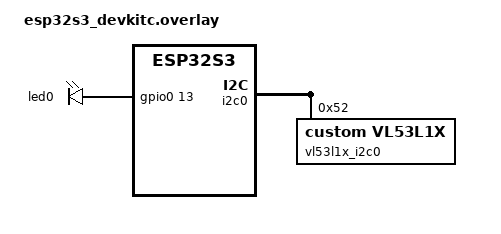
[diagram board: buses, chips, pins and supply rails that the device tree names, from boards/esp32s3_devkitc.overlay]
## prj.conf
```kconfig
CONFIG_GPIO=y
CONFIG_I2C=y
CONFIG_SHELL=y
CONFIG_I2C_SHELL=y
CONFIG_SENSOR_SHELL=y
CONFIG_SENSOR=y
```

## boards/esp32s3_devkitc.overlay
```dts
/ {
    aliases {
        my-led = &led0;
        distance-sensor = &vl53l1x_i2c0;
    };

    leds {
        compatible = "gpio-leds";
        led0: d13 {
            gpios = <&gpio0 13 GPIO_ACTIVE_HIGH>;
        };
    };
};

&pinctrl {
    i2c0_custom_pins: i2c0_custom_pins {
        group1 {
            pinmux = <I2C0_SDA_GPIO15>, <I2C0_SCL_GPIO16>;	// SDA on GPIO15, SCL on GPIO16
            bias-pull-up; 									// Enable pull-up resistors for both pins
            drive-open-drain; 								// Required for I2C
            output-high; 									// Start with lines high (inactive state)
        };
    };
};

&i2c0 {
    pinctrl-0 = <&i2c0_custom_pins>;
    status = "okay";

    vl53l1x_i2c0: vl53l1x@52 {
        compatible = "custom,vl53l1x";
        reg = < 0x52 >;
        status = "okay";
    };
};
```

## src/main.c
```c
#include <stdio.h>
#include <zephyr/kernel.h>
#include <zephyr/drivers/gpio.h>

// Settings
static const int32_t sleep_time_ms = 1000;
static const struct gpio_dt_spec led = GPIO_DT_SPEC_GET(DT_ALIAS(my_led), gpios);

int main(void)
{
	int ret;
	int state = 0;

	// Make sure that the GPIO was initialized
	if (!gpio_is_ready_dt(&led)) {
		return 0;
	}

	// Set the GPIO as output
	ret = gpio_pin_configure_dt(&led, GPIO_OUTPUT);
	if (ret < 0) {
		return 0;
	}

	// Do forever
	while (1) {

		// Change the state of the pin and print
		state = !state;
		// printk("LED state: %d\r\n", state);
		
		// Set pin state
		ret = gpio_pin_set_dt(&led, state);
		if (ret < 0) {
			return 0;
		}

		// Sleep
		k_msleep(sleep_time_ms);
	}

	return 0;
}
```
